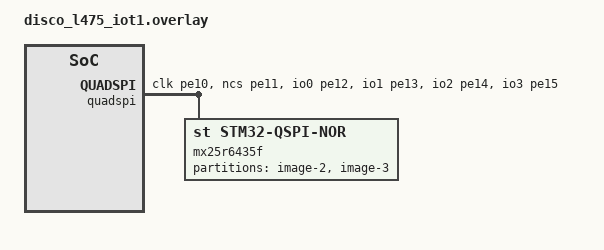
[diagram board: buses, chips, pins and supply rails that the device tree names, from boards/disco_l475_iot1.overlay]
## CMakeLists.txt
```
# SPDX-License-Identifier: Apache-2.0

cmake_minimum_required(VERSION 3.20.0)
find_package(Zephyr REQUIRED HINTS $ENV{ZEPHYR_BASE})
project(task1)

target_sources(app PRIVATE src/main.c)
```

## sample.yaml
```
sample:
  description: A random number generator demo using multi-threading with K_THREAD_DEFINE
  name: Random Number Generator
tests:
  sample.basic.rng:
    tags:
      - kernel
      - threads
      - random
    integration_platforms:
      - disco_l475_iot
    harness: console
    harness_config:
      type: multi_line
      ordered: false
      regex:
        - "Generated random number: (.*)"
```

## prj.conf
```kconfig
# Enable entropy-based random number generation
CONFIG_ENTROPY_DEVICE_RANDOM_GENERATOR=y
CONFIG_ENTROPY_GENERATOR=y

# Enable MCUboot bootloader support
CONFIG_BOOTLOADER_MCUBOOT=y
# Disable watchdog timer 
CONFIG_WATCHDOG=n

# Image manager for firmware updates
CONFIG_IMG_MANAGER=y
CONFIG_MCUBOOT_IMG_MANAGER=y

# Flash and partition management
CONFIG_FLASH=y              # Enable flash memory driver
CONFIG_FLASH_MAP=y          # Enable flash partition mapping
CONFIG_STREAM_FLASH=y       # Enable streaming flash write API
CONFIG_SOC_FLASH_STM32=y    # Enable STM32-specific flash memory driver
```

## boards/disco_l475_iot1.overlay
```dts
// Delete slot1 and slot2 to enable rearranging of partitions
/delete-node/ &slot1_partition;
/delete-node/ &slot2_partition;
&quadspi {
    pinctrl-0 = <&quadspi_clk_pe10 &quadspi_ncs_pe11
             &quadspi_bk1_io0_pe12 &quadspi_bk1_io1_pe13
             &quadspi_bk1_io2_pe14 &quadspi_bk1_io3_pe15>;
    pinctrl-names = "default";
    dmas = <&dma1 5 5 0x0000>;
    dma-names = "tx_rx";

    status = "okay";

    mx25r6435f: qspi-nor-flash@90000000 {
        compatible = "st,stm32-qspi-nor";
        reg = <0x90000000 DT_SIZE_M(8)>; /* 64 Mbits */
        qspi-max-frequency = <50000000>;
        status = "okay";

        partitions {
            compatible = "fixed-partitions";
            #address-cells = <1>;
            #size-cells = <1>;

            slot2_partition: partition@0 {
                label = "image-2";
                reg = <0x00000000 DT_SIZE_K(864)>;
            };

            slot3_partition: partition@d8000 {
                label = "image-3";
                reg = <0x000d8000 DT_SIZE_M(7)>;
            };
        };
    };
};

// Delete slot0 to fix partition overlap
/delete-node/ &slot0_partition;
&flash0 {
    partitions {
        compatible = "fixed-partitions";
        #address-cells = <1>;
        #size-cells = <1>;

        boot_partition: partition@0 {
            label = "mcuboot";
            reg = <0x0 DT_SIZE_K(64)>;
            read-only;
        };

        slot0_partition: partition@10000 {
            label = "image-0";
            reg = <0x10000 DT_SIZE_K(468)>;
        };

        // Add new slot1 to ensure we can use swap algorithm
        slot1_partition: partition@85000 {
            label = "image-1";
            reg = <0x85000 DT_SIZE_K(460)>;
        };

        storage_partition: partition@f8000 {
            label = "storage";
            reg = <0xf8000 DT_SIZE_K(32)>;
        };
    };
};
```

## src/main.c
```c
#include <zephyr/kernel.h>
#include <zephyr/device.h>
#include <zephyr/devicetree.h>
#include <zephyr/sys/printk.h>
#include <zephyr/random/random.h>

#define STACKSIZE               1024
#define RNG_PRIORITY            2         // Priority of the RNG thread (lower priority than display)
#define DISPLAY_PRIORITY        1         // Higher priority for the display thread
#define MSGQ_SIZE               10        // Size of the message queue
#define ALIGNMENT_SIZE_IN_BYTES 4         // Alignment size for message queue
#define MAX_8_DIGIT             100000000 // Used for modulo operation to ensure 8-digit output

// Binary semaphore to synchronize the RNG and display threads
K_SEM_DEFINE(signal_sem, 1, 1); 

// Message queue for storing random numbers, 10 slots, 4 bytes alignment (8 digits)
K_MSGQ_DEFINE(rng_msgq, sizeof(uint32_t), MSGQ_SIZE, ALIGNMENT_SIZE_IN_BYTES);


/*
 * RNG thread: Generates random numbers and puts them into the message queue.
 */
void rgn_thread(void *, void *, void *) {

	uint32_t random_num;
	
    while (1) {

        // Wait until semaphore is available
        k_sem_take(&signal_sem, K_FOREVER);

        // // Generate a random 32-bit number
        random_num = sys_rand32_get();

        // Attempt to put the random number into the message queue when it's ready
        if (k_msgq_put(&rng_msgq, &random_num, K_FOREVER) != 0) {
            // Handle message queue put failure
        }
    }
}

/*
 * Display thread: Retrieves and prints random numbers from the message queue.
 */
void display_thread(void *, void *, void *) {

	uint32_t random_num;

    while (1) {

        // Wait for a number from the queue
        k_msgq_get(&rng_msgq, &random_num, K_FOREVER);

        // Print the random number as a zero-padded 8-digit output
        printk("%08u\n", random_num % MAX_8_DIGIT); 

        // Print every 2 seconds
        k_sleep(K_SECONDS(2)); 

        // Signal RNG thread to generate a new number after the 2s
        k_sem_give(&signal_sem);
    }
}

int main(void) {

    return 0;  // Main does nothing since threads are defined outside
}

// Define and start threads
K_THREAD_DEFINE(rng_tid, STACKSIZE, rgn_thread, NULL, NULL, NULL, RNG_PRIORITY, 0, 0);
K_THREAD_DEFINE(display_tid, STACKSIZE, display_thread, NULL, NULL, NULL, DISPLAY_PRIORITY, 0, 0);
```
